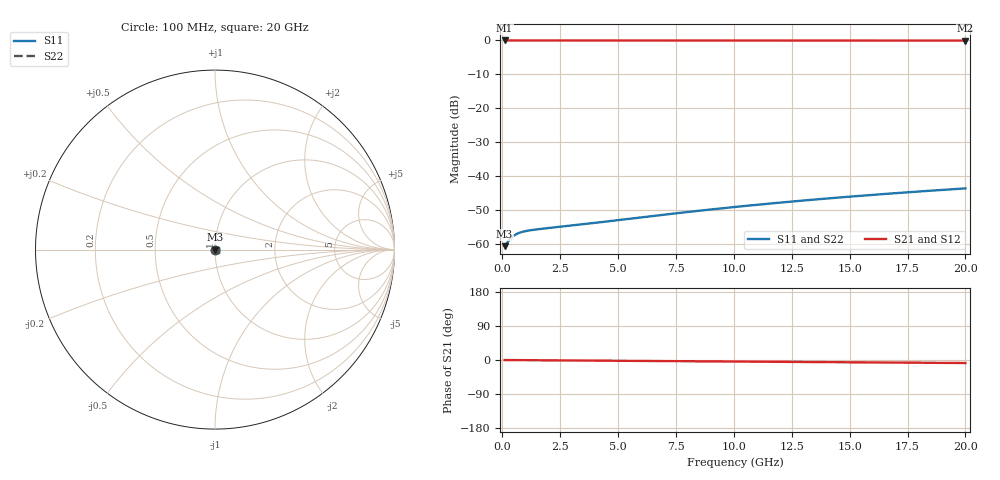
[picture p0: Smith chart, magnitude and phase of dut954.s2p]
! Touchstone file exported from HFSS 2026.1.0
!  File:  C:/ffzhzh/LocalFiles/Ansys_Project_Files/temp_train_TMRDL_954_1783158735_43440.aedt
!  Generated:  05:53:33 PM Jul  4, 2026
!  Design:  TMRDL
!  Project:  temp_train_TMRDL_954_1783158735_43440
! Variables:
!  h_bsmrdl = 2um
!  h_ox = 20um
!  h_rdl = 5um
!  h_sub = 80um
!  h_tmrdl = 3.11um
!  h_tsv = 80um
!  h_via = 3um
!  l_bsmrdl = 300um
!  l_sub = 531.03um
!  l_tmrdl = 131.03um
!  m_sub = 200um
!  pitch = 27.53um
!  r_tsv = 6um
!  s_tmrdl = 10um
!  w_bsmrdl = 18um
!  w_sub = 500um
!  w_tmrdl = 24.26um
!  x_tsv_center1 = 143.16um
!  x_tsv_center2 = 461.16um
!  x_tsv_center3 = 616.45um
!  x_tsv_center4 = 934.45um
!  x_tsv_center5 = 1089.74um
!  x_tsv_center6 = 1407.74um
# GHz S MA R 50.000000
! Terminal data exported
! Port[1] = TM_RDL1_1_T1
! Port[2] = TM_RDL1_1_T2
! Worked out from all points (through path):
!   200 points, 100 MHz to 20 GHz, reference 50 ohm
!   highest |S21| = -0.01 dB at 100 MHz (marker M1); lowest = 0.0 dB at 20 GHz (marker M2)
!   group delay of S21, straight-line fit = 1.11 ps
!   lowest |S11| = -60.7 dB at 100 MHz (marker M3), VSWR 1.00, Z = 50.1 + j0.0148 ohm
!   |S11| at or under -10 dB: start of sweep to end of sweep
!   |S22| runs from -60.7 to -43.7 dB; largest |S21 - S12| = 3.2e-15
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0.1  0.0009217 9.3  0.9991 -0.0  0.9991 -0.0  0.0009217 9.3
! Gamma 0 0 0 0
! Port Impedance 50 0 50 0
0.2  0.001021 15.1  0.999 -0.1  0.999 -0.1  0.001021 15.1
0.3  0.001135 17.4  0.9989 -0.1  0.9989 -0.1  0.001135 17.4
0.4  0.001237 17.7  0.9988 -0.2  0.9988 -0.2  0.001237 17.7
0.5  0.00132 17.1  0.9987 -0.2  0.9987 -0.2  0.00132 17.1
0.6  0.001385 16.1  0.9987 -0.3  0.9987 -0.3  0.001385 16.1
0.7  0.001436 15.1  0.9986 -0.3  0.9986 -0.3  0.001436 15.1
0.8  0.001477 14.1  0.9986 -0.3  0.9986 -0.3  0.001477 14.1
0.9  0.001509 13.2  0.9985 -0.4  0.9985 -0.4  0.001509 13.2
1  0.001537 12.4  0.9985 -0.4  0.9985 -0.4  0.001537 12.4
1.2  0.001581 11.1  0.9985 -0.5  0.9985 -0.5  0.001581 11.1
1.5  0.001632 9.6  0.9984 -0.6  0.9984 -0.6  0.001632 9.6
3.5  0.001942 4.4  0.9981 -1.4  0.9981 -1.4  0.001942 4.4
6.8  0.002643 -5.7  0.9974 -2.8  0.9974 -2.8  0.002643 -5.7
8.5  0.003072 -11.7  0.997 -3.5  0.997 -3.5  0.003073 -11.7
10.1  0.003506 -17.2  0.9966 -4.1  0.9966 -4.1  0.003506 -17.2
11.7  0.003962 -22.5  0.9962 -4.7  0.9962 -4.7  0.003963 -22.5
13.4  0.004467 -27.8  0.9959 -5.4  0.9959 -5.4  0.004467 -27.8
15  0.004957 -32.3  0.9955 -6.0  0.9955 -6.0  0.004957 -32.3
16.7  0.005491 -36.7  0.9952 -6.7  0.9952 -6.7  0.005491 -36.7
18.3  0.006004 -40.5  0.995 -7.3  0.995 -7.3  0.006005 -40.5
20  0.00656 -44.1  0.9947 -8.0  0.9947 -8.0  0.006561 -44.1
